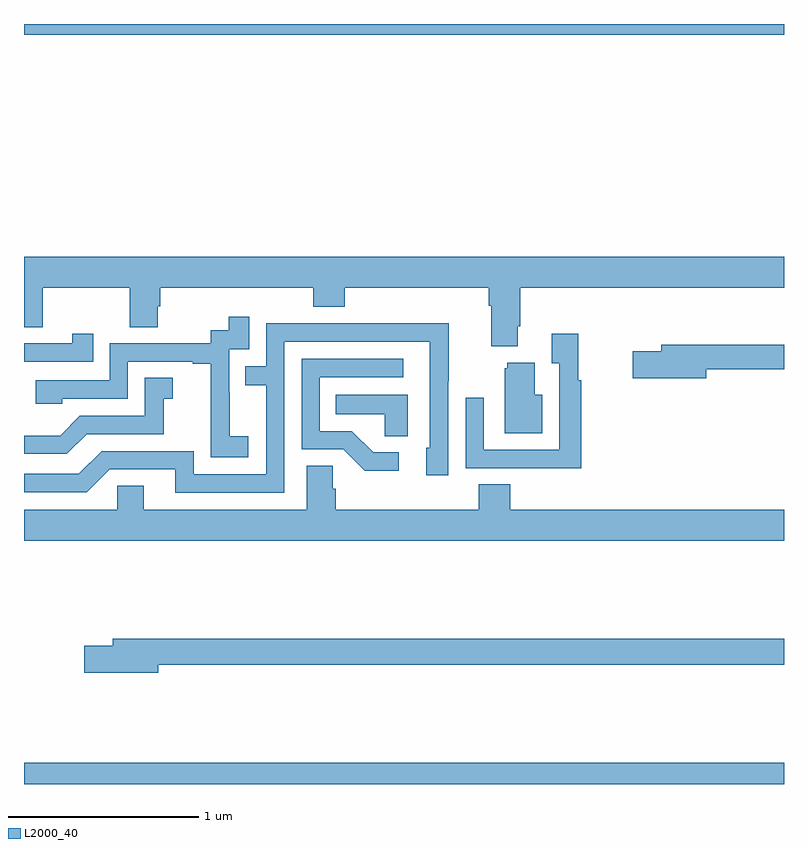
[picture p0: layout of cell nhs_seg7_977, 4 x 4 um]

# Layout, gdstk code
import gdstk
lib = gdstk.Library(unit=1e-6, precision=1e-09)
def R(c, l, rs):  # rectangles x0, y0, x1, y1
    for r in rs: c.add(gdstk.rectangle(r[:2], r[2:], *l))
def P(c, l, *ps):  # polygons
    for p in ps: c.add(gdstk.Polygon(p, *l))
L2000_40 = (2000, 40)

nhs_seg7_977 = lib.new_cell('nhs_seg7_977')
R(nhs_seg7_977, L2000_40, [(183,1002,187,1002.112), (183,1005.944,187,1006)])
P(nhs_seg7_977, L2000_40, [(185.599,1004.41),(185.612,1004.41),(185.612,1004.612),(187,1004.612),(187,1004.776),(183,1004.776),(183,1004.404),(183.099,1004.404),(183.099,1004.612),(183.556,1004.612),(183.556,1004.404),(183.703,1004.404),(183.703,1004.514),(183.716,1004.514),(183.716,1004.612),(184.523,1004.612),(184.523,1004.513),(184.688,1004.513),(184.688,1004.612),(185.447,1004.612),(185.447,1004.516),(185.459,1004.516),(185.459,1004.303),(185.599,1004.303)],
  [(184.18,1003.831),(184.082,1003.831),(184.082,1004.06),(184.08,1004.06),(184.08,1004.289),(184.185,1004.289),(184.185,1004.458),(184.077,1004.458),(184.077,1004.388),(183.984,1004.388),(183.984,1004.319),(183.45,1004.319),(183.45,1004.124),(183.061,1004.124),(183.061,1004.001),(183.201,1004.001),(183.201,1004.028),(183.546,1004.028),(183.546,1004.223),(183.887,1004.223),(183.887,1004.211),(183.983,1004.211),(183.983,1003.927),(183.982,1003.927),(183.982,1003.721),(184.18,1003.721)],
  [(184.371,1004.328),(185.136,1004.328),(185.136,1003.77),(185.117,1003.77),(185.117,1003.626),(185.232,1003.626),(185.232,1004.119),(185.235,1004.119),(185.235,1004.426),(184.771,1004.426),(184.771,1004.424),(184.275,1004.424),(184.275,1004.199),(184.165,1004.199),(184.165,1004.098),(184.275,1004.098),(184.275,1003.629),(183.894,1003.629),(183.894,1003.752),(183.408,1003.752),(183.288,1003.632),(183,1003.632),(183,1003.536),(183.33,1003.536),(183.45,1003.656),(183.797,1003.656),(183.797,1003.533),(184.371,1003.533)],
  [(183.365,1004.371),(183.254,1004.371),(183.254,1004.319),(183,1004.319),(183,1004.223),(183.365,1004.223)],
  [(185.933,1004.126),(185.918,1004.126),(185.918,1004.371),(185.777,1004.371),(185.777,1004.215),(185.817,1004.215),(185.817,1003.758),(185.421,1003.758),(185.421,1004.032),(185.325,1004.032),(185.325,1003.662),(185.641,1003.662),(185.641,1003.661),(185.933,1003.661)],
  [(186.592,1004.182),(187,1004.182),(187,1004.311),(186.353,1004.311),(186.353,1004.277),(186.204,1004.277),(186.204,1004.135),(186.592,1004.135)],
  [(184.972,1003.746),(184.837,1003.746),(184.726,1003.857),(184.557,1003.857),(184.557,1004.142),(184.996,1004.142),(184.996,1004.238),(184.461,1004.238),(184.461,1003.761),(184.68,1003.761),(184.793,1003.649),(184.972,1003.649)],
  [(185.728,1004.05),(185.689,1004.05),(185.689,1004.218),(185.543,1004.218),(185.543,1004.187),(185.531,1004.187),(185.531,1003.847),(185.728,1003.847)],
  [(183.331,1003.842),(183.735,1003.842),(183.735,1004.027),(183.784,1004.027),(183.784,1004.137),(183.636,1004.137),(183.636,1003.938),(183.294,1003.938),(183.19,1003.834),(183,1003.834),(183,1003.737),(183.226,1003.737)],
  [(185.02,1004.05),(184.642,1004.05),(184.642,1003.946),(184.899,1003.946),(184.899,1003.831),(185.02,1003.831)],
  [(184.487,1003.676),(184.487,1003.444),(183.631,1003.444),(183.631,1003.571),(183.492,1003.571),(183.492,1003.444),(183,1003.444),(183,1003.28),(187,1003.28),(187,1003.444),(185.558,1003.444),(185.558,1003.577),(185.393,1003.577),(185.393,1003.444),(184.64,1003.444),(184.64,1003.553),(184.626,1003.553),(184.626,1003.676)],
  [(183.706,1002.628),(187,1002.628),(187,1002.764),(183.467,1002.764),(183.467,1002.728),(183.318,1002.728),(183.318,1002.586),(183.706,1002.586)])

lib.write_gds('nhs_seg7_977.gds')
